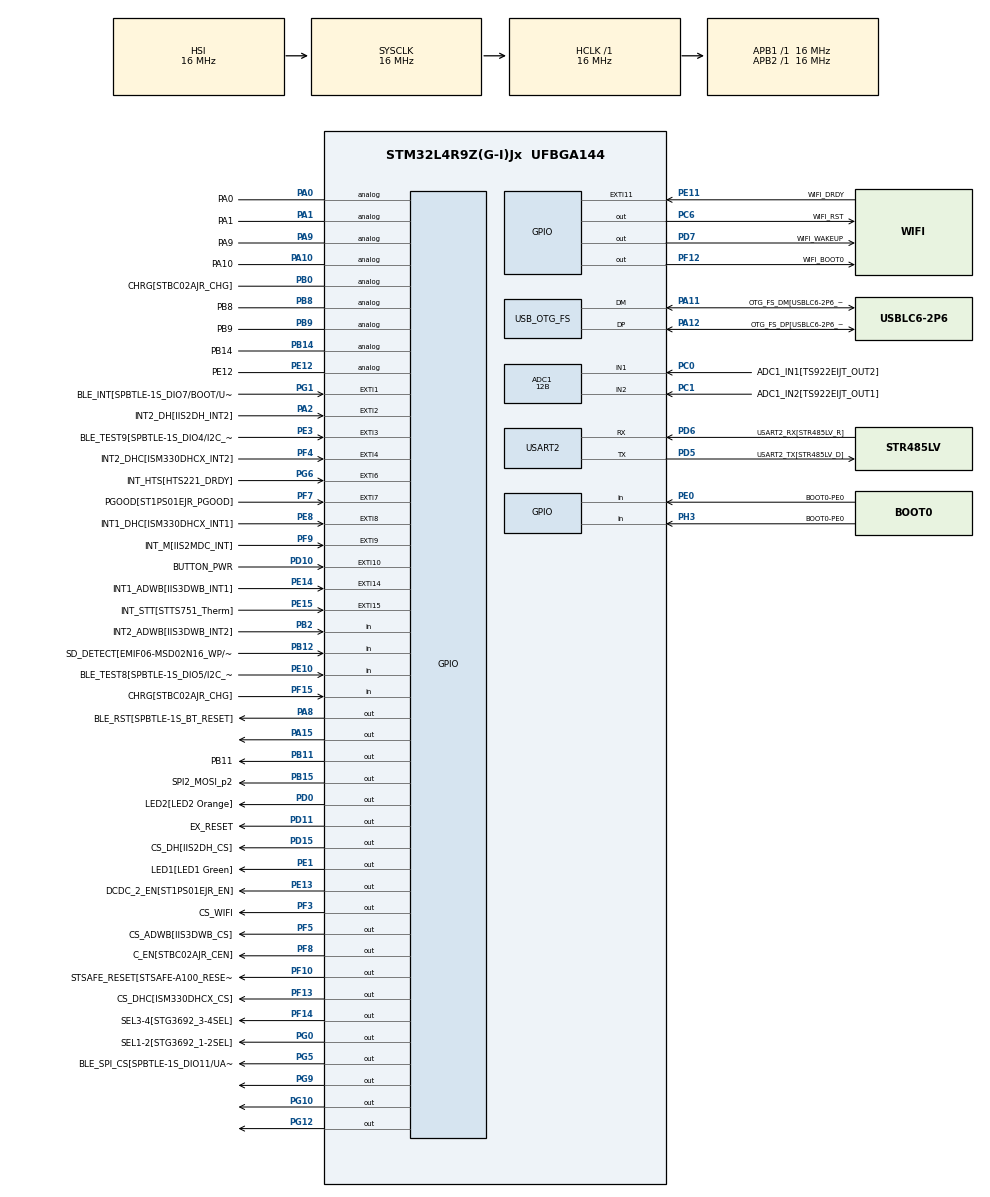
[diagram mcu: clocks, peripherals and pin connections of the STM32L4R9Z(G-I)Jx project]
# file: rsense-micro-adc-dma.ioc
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ADC1.Channel-0\#ChannelRegularConversion=ADC_CHANNEL_1
ADC1.ClockPrescaler=ADC_CLOCK_ASYNC_DIV8
ADC1.ContinuousConvMode=ENABLE
ADC1.DMAContinuousRequests=ENABLE
ADC1.EnableInjectedConversion=DISABLE
ADC1.NbrOfConversion=1
ADC1.NbrOfConversionFlag=1
ADC1.OffsetNumber-0\#ChannelRegularConversion=ADC_OFFSET_NONE
ADC1.Rank-0\#ChannelRegularConversion=1
ADC1.Resolution=ADC_RESOLUTION_12B
ADC1.SamplingTime-0\#ChannelRegularConversion=ADC_SAMPLETIME_2CYCLES_5
ADC1.SingleDiff-0\#ChannelRegularConversion=ADC_DIFFERENTIAL_ENDED
ADC1.master=1
Dma.ADC1.0.Direction=DMA_PERIPH_TO_MEMORY
Dma.ADC1.0.EventEnable=DISABLE
Dma.ADC1.0.Instance=DMA1_Channel1
Dma.ADC1.0.MemDataAlignment=DMA_MDATAALIGN_HALFWORD
Dma.ADC1.0.MemInc=DMA_MINC_ENABLE
Dma.ADC1.0.Mode=DMA_CIRCULAR
Dma.ADC1.0.PeriphDataAlignment=DMA_PDATAALIGN_HALFWORD
Dma.ADC1.0.PeriphInc=DMA_PINC_DISABLE
Dma.ADC1.0.Polarity=HAL_DMAMUX_REQUEST_GEN_RISING
Dma.ADC1.0.Priority=DMA_PRIORITY_LOW
Dma.ADC1.0.RequestNumber=1
Dma.ADC1.0.SignalID=NONE
Dma.ADC1.0.SyncEnable=DISABLE
Dma.ADC1.0.SyncPolarity=HAL_DMAMUX_SYNC_NO_EVENT
Dma.ADC1.0.SyncRequestNumber=1
Dma.ADC1.0.SyncSignalID=NONE
Dma.Request0=ADC1
Dma.Request1=USART2_TX
Dma.USART2_TX.1.Direction=DMA_MEMORY_TO_PERIPH
Dma.USART2_TX.1.EventEnable=DISABLE
Dma.USART2_TX.1.Instance=DMA1_Channel2
Dma.USART2_TX.1.MemDataAlignment=DMA_MDATAALIGN_BYTE
Dma.USART2_TX.1.MemInc=DMA_MINC_ENABLE
Dma.USART2_TX.1.Mode=DMA_NORMAL
Dma.USART2_TX.1.PeriphDataAlignment=DMA_PDATAALIGN_BYTE
Dma.USART2_TX.1.PeriphInc=DMA_PINC_DISABLE
Dma.USART2_TX.1.Polarity=HAL_DMAMUX_REQUEST_GEN_RISING
Dma.USART2_TX.1.Priority=DMA_PRIORITY_LOW
Dma.USART2_TX.1.RequestNumber=1
Dma.USART2_TX.1.SignalID=NONE
Dma.USART2_TX.1.SyncEnable=DISABLE
Dma.USART2_TX.1.SyncPolarity=HAL_DMAMUX_SYNC_NO_EVENT
Dma.USART2_TX.1.SyncRequestNumber=1
Dma.USART2_TX.1.SyncSignalID=NONE
Mcu.Family=STM32L4
Mcu.Name=STM32L4R9Z(G-I)Jx
Mcu.Package=UFBGA144
NVIC.DMA1_Channel1_IRQn=true\:0\:0\:false\:false\:true\:false\:true
NVIC.DMA1_Channel2_IRQn=true\:0\:0\:false\:false\:true\:false\:true
NVIC.OTG_FS_IRQn=true\:0\:0\:false\:false\:true\:false\:true
NVIC.PriorityGroup=NVIC_PRIORITYGROUP_4
PA0.GPIO_Label=PA0
PA0.Signal=GPIO_Analog
PA1.GPIO_Label=PA1
PA1.Signal=GPIO_Analog
PA10.GPIO_Label=PA10
PA10.Signal=GPIO_Analog
PA11.GPIO_Label=OTG_FS_DM[USBLC6-2P6_D2]
PA11.Mode=Device_Only
PA11.Signal=USB_OTG_FS_DM
PA12.GPIO_Label=OTG_FS_DP[USBLC6-2P6_D1]
PA12.Mode=Device_Only
PA12.Signal=USB_OTG_FS_DP
PA13\ (JTMS/SWDIO).GPIO_Label=SWDIO
PA13\ (JTMS/SWDIO).Mode=Serial_Wire
PA13\ (JTMS/SWDIO).Signal=SYS_JTMS-SWDIO
PA14\ (JTCK/SWCLK).GPIO_Label=SWDCLK
PA14\ (JTCK/SWCLK).Mode=Serial_Wire
PA14\ (JTCK/SWCLK).Signal=SYS_JTCK-SWCLK
PA15\ (JTDI).Signal=GPIO_Output
PA2.GPIO_Label=INT2_DH[IIS2DH_INT2]
PA2.Signal=GPXTI2
PA4.GPIO_Label=DAC1_OUT1
PA4.Signal=COMP_DAC11_group
PA8.GPIO_Label=BLE_RST[SPBTLE-1S_BT_RESET]
PA8.Signal=GPIO_Output
PA9.GPIO_Label=PA9
PA9.Signal=GPIO_Analog
PB0.GPIO_Label=CHRG[STBC02AJR_CHG]
PB0.Signal=GPIO_Analog
PB1.GPIO_Label=USART3_RTS[STG3692_3S2]
PB1.Signal=USART3_RTS
PB10.GPIO_Label=DFSDM1_D7
PB10.GPIO_PuPd=GPIO_PULLDOWN
PB10.GPIO_Speed=GPIO_SPEED_FREQ_VERY_HIGH
PB10.Signal=S_DATAIN7DFSDM1
PB11.GPIO_Label=PB11
PB11.Signal=GPIO_Output
PB12.GPIO_Label=SD_DETECT[EMIF06-MSD02N16_WP/CD]
PB12.Signal=GPIO_Input
PB13.GPIO_Label=USART3_CTS
PB13.Signal=USART3_CTS
PB14.GPIO_Label=PB14
PB14.Signal=GPIO_Analog
PB15.GPIO_Label=SPI2_MOSI_p2
PB15.Signal=GPIO_Output
PB2.GPIO_Label=INT2_ADWB[IIS3DWB_INT2]
PB2.Signal=GPIO_Input
PB3\ (JTDO/TRACESWO).GPIO_Label=SPI3_CLK[SENSORS_SCL]
PB3\ (JTDO/TRACESWO).Signal=SPI3_SCK
PB4\ (NJTRST).GPIO_Label=SPI3_MISO[SENSORS_SDO]
PB4\ (NJTRST).Signal=SPI3_MISO
PB5.GPIO_Label=SPI3_MOSI[SENSORS_SDA]
PB5.Signal=SPI3_MOSI
PB6.GPIO_Label=DFSDM1_DATIN5[IMP34DT05_DOUT]
PB6.GPIO_PuPd=GPIO_PULLDOWN
PB6.GPIO_Speed=GPIO_SPEED_FREQ_VERY_HIGH
PB6.Signal=S_DATAIN5DFSDM1
PB8.GPIO_Label=PB8
PB8.Signal=GPIO_Analog
PB9.GPIO_Label=PB9
PB9.Signal=GPIO_Analog
PC0.GPIO_Label=ADC1_IN1[TS922EIJT_OUT2]
PC0.Signal=ADCx_IN1
PC1.GPIO_Label=ADC1_IN2[TS922EIJT_OUT1]
PC1.Signal=ADCx_IN2
PC10.GPIO_Label=SDMMC_D2[EMIF06-MSD02N16_DAT2_In]
PC10.Signal=SDMMC1_D2
PC11.GPIO_Label=SDMMC_D3[EMIF06-MSD02N16_DAT3_In]
PC11.Signal=SDMMC1_D3
PC12.GPIO_Label=SDMMC_CK[EMIF06-MSD02N16_CLK_In]
PC12.Signal=SDMMC1_CK
PC13.GPIO_Label=RTC_TAMP1
PC13.Signal=RTC_TAMP1
PC14-OSC32_IN\ (PC14).GPIO_Label=OSC32_IN
PC14-OSC32_IN\ (PC14).Signal=RCC_OSC32_IN
PC15-OSC32_OUT\ (PC15).GPIO_Label=OSC32_OUT
PC15-OSC32_OUT\ (PC15).Signal=RCC_OSC32_OUT
PC2.GPIO_Label=SPI2_MISO[SPBTLE-1S_DIO2/SPI_MISO]
PC2.Signal=SPI2_MISO
PC3.GPIO_Label=SPI2_MOSI[SPBTLE-1S_DIO3/SPI_MOSI]
PC3.Signal=SPI2_MOSI
PC5.GPIO_Label=PC5/WKUP5
PC5.Signal=SYS_WKUP5
PC6.GPIO_Label=WIFI_RST
PC6.Signal=GPIO_Output
PC8.GPIO_Label=SDMMC_D0[EMIF06-MSD02N16_DAT0_In]
PC8.Signal=SDMMC1_D0
PC9.GPIO_Label=SDMMC_D1[EMIF06-MSD02N16_DAT1_In]
PC9.Signal=SDMMC1_D1
PD0.GPIO_Label=LED2[LED2 Orange]
PD0.Signal=GPIO_Output
PD1.GPIO_Label=SPI2_CLK[SPBTLE-1S_DIO0/SPI_CLK]
PD1.Signal=SPI2_SCK
PD10.GPIO_Label=BUTTON_PWR
PD10.Signal=GPXTI10
PD11.GPIO_Label=EX_RESET 
PD11.Signal=GPIO_Output
PD12.GPIO_Label=I2C4_SCL
PD12.Signal=I2C4_SCL
PD13.GPIO_Label=I2C4_SDA
PD13.Signal=I2C4_SDA
PD15.GPIO_Label=CS_DH[IIS2DH_CS]
PD15.Signal=GPIO_Output
PD2.GPIO_Label=SDMMC_CMD[EMIF06-MSD02N16_CMD_In]
PD2.Signal=SDMMC1_CMD
PD4.GPIO_Label=USART2_RTS[STR485LV_DE]
PD4.Signal=USART2_RTS
PD5.GPIO_Label=USART2_TX[STR485LV_D]
PD5.Mode=Asynchronous
PD5.Signal=USART2_TX
PD6.GPIO_Label=USART2_RX[STR485LV_R]
PD6.Mode=Asynchronous
PD6.Signal=USART2_RX
PD7.GPIO_Label=WIFI_WAKEUP
PD7.Signal=GPIO_Output
PD8.GPIO_Label=USART3_TX[STG3692_1S1]
PD8.Signal=USART3_TX
PD9.GPIO_Label=USART3_RX[STG3692_2S1]
PD9.Signal=USART3_RX
PE0.GPIO_Label=BOOT0-PE0
PE0.Signal=GPIO_Input
PE1.GPIO_Label=LED1[LED1 Green]
PE1.Signal=GPIO_Output
PE10.GPIO_Label=BLE_TEST8[SPBTLE-1S_DIO5/I2C_SDA]
PE10.Signal=GPIO_Input
PE11.GPIO_Label=WIFI_DRDY
PE11.Signal=GPXTI11
PE12.GPIO_Label=PE12
PE12.Signal=GPIO_Analog
PE13.GPIO_Label=DCDC_2_EN[ST1PS01EJR_EN]
PE13.Signal=GPIO_Output
PE14.GPIO_Label=INT1_ADWB[IIS3DWB_INT1]
PE14.Signal=GPXTI14
PE15.GPIO_Label=INT_STT[STTS751_Therm]
PE15.Signal=GPXTI15
PE2.GPIO_Label=SAI1_MCLK_A
PE2.Signal=SAI1_MCLK_A
PE3.GPIO_Label=BLE_TEST9[SPBTLE-1S_DIO4/I2C_CLK]
PE3.Signal=GPXTI3
PE4.GPIO_Label=SAI1_FS_A/DFSDM_D3
PE4.Signal=SAI1_FS_A
PE5.GPIO_Label=SAI1_SCK_A
PE5.Signal=SAI1_SCK_A
PE6.GPIO_Label=SAI1_SD_A
PE6.Signal=SAI1_SD_A
PE7.GPIO_Label=SAI1_SD_B
PE7.Signal=SAI1_SD_B
PE8.GPIO_Label=INT1_DHC[ISM330DHCX_INT1]
PE8.Signal=GPXTI8
PE9.GPIO_Label=DFSDM1_CKOUT[IMP34DT05_CLK]
PE9.GPIO_PuPd=GPIO_PULLDOWN
PE9.GPIO_Speed=GPIO_SPEED_FREQ_VERY_HIGH
PE9.Signal=S_CKOUTDFSDM1
PF0.GPIO_Label=I2C2_SDA[SENSORS_SDA]
PF0.Signal=I2C2_SDA
PF1.GPIO_Label=I2C2_SDA[SENSORS_SCL]
PF1.Signal=I2C2_SCL
PF10.GPIO_Label=STSAFE_RESET[STSAFE-A100_RESET]
PF10.Signal=GPIO_Output
PF12.GPIO_Label=WIFI_BOOT0
PF12.Signal=GPIO_Output
PF13.GPIO_Label=CS_DHC[ISM330DHCX_CS]
PF13.Signal=GPIO_Output
PF14.GPIO_Label=SEL3-4[STG3692_3-4SEL]
PF14.Signal=GPIO_Output
PF15.GPIO_Label=CHRG[STBC02AJR_CHG]
PF15.Signal=GPIO_Input
PF2.GPIO_Label=I2C2_SMBA[STTS751_EV]
PF2.Signal=I2C2_SMBA
PF3.GPIO_Label=CS_WIFI
PF3.Signal=GPIO_Output
PF4.GPIO_Label=INT2_DHC[ISM330DHCX_INT2]
PF4.Signal=GPXTI4
PF5.GPIO_Label=CS_ADWB[IIS3DWB_CS]
PF5.Signal=GPIO_Output
PF6.GPIO_Label=SW_SEL[STBC02AJR_SW_SEL]
PF6.GPIO_Speed=GPIO_SPEED_FREQ_HIGH
PF6.Signal=S_TIM5_CH1
PF7.GPIO_Label=PGOOD[ST1PS01EJR_PGOOD]
PF7.Signal=GPXTI7
PF8.GPIO_Label=C_EN[STBC02AJR_CEN]
PF8.Signal=GPIO_Output
PF9.GPIO_Label=INT_M[IIS2MDC_INT]
PF9.Signal=GPXTI9
PG0.GPIO_Label=SEL1-2[STG3692_1-2SEL]
PG0.Signal=GPIO_Output
PG1.GPIO_Label=BLE_INT[SPBTLE-1S_DIO7/BOOT/UART_CTS]
PG1.Signal=GPXTI1
PG10.Signal=GPIO_Output
PG12.Signal=GPIO_Output
PG2.GPIO_Label=SPI1_CLK
PG2.Signal=SPI1_SCK
PG3.GPIO_Label=SPI1_MISO
PG3.Signal=SPI1_MISO
PG4.GPIO_Label=SPI1_MOSI
PG4.Signal=SPI1_MOSI
PG5.GPIO_Label=BLE_SPI_CS[SPBTLE-1S_DIO11/UART_RXD]
PG5.Signal=GPIO_Output
PG6.GPIO_Label=INT_HTS[HTS221_DRDY]
PG6.Signal=GPXTI6
PG7.GPIO_Label=I2C3_SCL
PG7.Signal=I2C3_SCL
PG8.GPIO_Label=I2C3_SDA
PG8.Signal=I2C3_SDA
PG9.Signal=GPIO_Output
PH0-OSC_IN\ (PH0).GPIO_Label=OSC_IN
PH0-OSC_IN\ (PH0).Signal=RCC_OSC_IN
PH1-OSC_OUT\ (PH1).GPIO_Label=OSC_OUT
PH1-OSC_OUT\ (PH1).Signal=RCC_OSC_OUT
PH3-BOOT0.GPIO_Label=BOOT0-PE0
PH3-BOOT0.Signal=GPIO_Input
ProjectManager.HeapSize=0x200
ProjectManager.StackSize=0x400
ProjectManager.TargetToolchain=STM32CubeIDE
RCC.ADCCLockSelection=RCC_ADCCLKSOURCE_SYSCLK
RCC.ADCFreq_Value=16000000
RCC.AHBFreq_Value=16000000
RCC.APB1Freq_Value=16000000
RCC.APB1TimFreq_Value=16000000
RCC.APB2Freq_Value=16000000
RCC.APB2TimFreq_Value=16000000
RCC.CK48CLockSelection=RCC_USBCLKSOURCE_HSI48
RCC.CortexFreq_Value=16000000
RCC.DSITX_Div=1
RCC.HCLKFreq_Value=16000000
RCC.HSE_VALUE=16000000
RCC.HSI48_VALUE=48000000
RCC.HSI_VALUE=16000000
RCC.LSE_VALUE=32768
RCC.MSI_VALUE=4000000
RCC.PLLDSIODF=DSI_PLL_OUT_DIV2
RCC.PLLM1=2
RCC.PLLM2=5
RCC.PLLM3=2
RCC.PLLN=30
RCC.PLLSAI1N=96
RCC.PLLSAI1P=RCC_PLLP_DIV25
RCC.PLLSAI1Q=RCC_PLLQ_DIV4
RCC.PLLSAI1R=RCC_PLLR_DIV4
RCC.PLLSourceVirtual=RCC_PLLSOURCE_HSI
RCC.RTCClockSelection=RCC_RTCCLKSOURCE_LSE
RCC.SDMMCClockSelection=RCC_SDIOCLKSOURCE_CLK48
RCC.SYSCLKFreq_VALUE=16000000
RCC.SYSCLKSource=RCC_SYSCLKSOURCE_HSI
RCC.USBFreq_Value=48000000
RCC.VCOOutputFreq_Value=240000000
SH.ADCx_IN1.0=ADC1_IN1,IN1-Differential
SH.ADCx_IN2.0=ADC1_IN2,IN1-Differential
SH.COMP_DAC11_group.0=DAC1_OUT1
SH.S_CKOUTDFSDM1.0=DFSDM1_CKOUT
SH.S_DATAIN5DFSDM1.0=DFSDM1_DATIN5
SH.S_DATAIN7DFSDM1.0=DFSDM1_DATIN7
SH.S_TIM5_CH1.0=TIM5_CH1
USART2.VirtualMode-Asynchronous=VM_ASYNC
USB_DEVICE.CLASS_NAME_FS=CDC
USB_DEVICE.VirtualMode=Cdc
USB_DEVICE.VirtualModeFS=Cdc_FS
USB_OTG_FS.VirtualMode=Device_Only
VP_USB_DEVICE_VS_USB_DEVICE_CDC_FS.Mode=CDC_FS
board=STEVAL-STWINKT1

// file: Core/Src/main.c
/* USER CODE BEGIN Header */
/**
 ******************************************************************************
 * @file           : main.c
 * @brief          : Main program body
 ******************************************************************************
 * @attention
 *
 * <h2><center>&copy; Copyright (c) 2021 STMicroelectronics.
 * All rights reserved.</center></h2>
 *
 * This software component is licensed by ST under BSD 3-Clause license,
 * the "License"; You may not use this file except in compliance with the
 * License. You may obtain a copy of the License at:
 *                        opensource.org/licenses/BSD-3-Clause
 *
 ******************************************************************************
 */
/* USER CODE END Header */
#include "main.h"
#include "usb_device.h"

/* USER CODE BEGIN Includes */
#define ARM_MATH_CM4
#include "arm_math.h"
#include <stdio.h>
#include <stdlib.h>
#include <audio_fft.h>
#include <math.h>
//#include "usbd_cdc_if.h"

/* USER CODE END Includes */

ADC_HandleTypeDef hadc1;
DMA_HandleTypeDef hdma_adc1;

UART_HandleTypeDef huart2;
DMA_HandleTypeDef hdma_usart2_tx;

/* USER CODE BEGIN PV */
#define ADC_BUF_LEN 512//4096
int16_t adc_buf[ADC_BUF_LEN];

/* USER CODE END PV */

void SystemClock_Config(void);
static void MX_GPIO_Init(void);
static void MX_DMA_Init(void);
static void MX_ADC1_Init(void);
static void MX_USART2_UART_Init(void);
/* USER CODE BEGIN PFP */
void DMATransferComplete(DMA_HandleTypeDef *hdma);
AUDIO_FFT_instance_t audio_fft_M1;
/* USER CODE END PFP */

/* USER CODE BEGIN 0 */
uint8_t completo = 0;
float * FFT_Out;
/* USER CODE END 0 */

int main(void)
{

  /* MCU Configuration--------------------------------------------------------*/

  /* Reset of all peripherals, Initializes the Flash interface and the Systick. */
  HAL_Init();

  /* Configure the system clock */
  SystemClock_Config();

  /* Initialize all configured peripherals */
  MX_GPIO_Init();
  MX_DMA_Init();
  MX_ADC1_Init();
  MX_USART2_UART_Init();
  MX_USB_DEVICE_Init();
  /* USER CODE BEGIN 2 */
	//	HAL_DMA_RegisterCallback(&hdma_usart2_tx, HAL_DMA_XFER_CPLT_CB_ID, &DMATransferComplete);
	HAL_ADC_Start_DMA(&hadc1, (int32_t*)adc_buf, ADC_BUF_LEN);

	audio_fft_M1.sampling_frequency = 133333; 			//66667; //
	audio_fft_M1.FFT_len = 1024;
	audio_fft_M1.overlap = 0.5f;
	audio_fft_M1.win_type = AUDIO_FTT_HANNING_WIN;
	audio_fft_M1.output = MAGNITUDE;
	AUDIO_FFT_Init(&audio_fft_M1);

	/* Allocate output buffer */
	FFT_Out = calloc(audio_fft_M1.FFT_len / 2, sizeof(float));

  /* USER CODE END 2 */

  /* Infinite loop */
  /* USER CODE BEGIN WHILE */
	int16_t FFT_filtrada[ADC_BUF_LEN];
	float alpha = 0.05;
//	int16_t FFT_now[ADC_BUF_LEN];
	int16_t toSend[ADC_BUF_LEN+1+1];		//PAYLOAD + CABECERA + CRC

	while (1)
	{
    /* USER CODE END WHILE */

    /* USER CODE BEGIN 3 */
		if (completo==1)
		{

//			HAL_GPIO_WritePin(GPIOA, GPIO_PIN_15, GPIO_PIN_SET);

			HAL_ADC_Stop_DMA(&hadc1);
			AUDIO_FFT_Data_Input(adc_buf, ADC_BUF_LEN, &audio_fft_M1);
			AUDIO_FFT_Process(&audio_fft_M1, FFT_Out);

			int j=0;
			for (int i = 0; i<(ADC_BUF_LEN); i++){
//				FFT_now[i] = 20 * log(FFT_Out[i]/256);
				FFT_filtrada[i] = (alpha *(20 * log(FFT_Out[i]/256))) + ((1 - alpha) * FFT_filtrada[i]);

			}
//			HAL_GPIO_WritePin(GPIOA, GPIO_PIN_15, GPIO_PIN_RESET);

			//Genera el mensaje a enviar
			toSend[0] = 0x3e3e;											//CABECERA
			memcpy(&toSend[1], &FFT_filtrada, sizeof(FFT_filtrada));	//PAYLOAD
			int16_t BCC_CRC = 0;
			for (int i = 1; i <= (ADC_BUF_LEN); i++)
				BCC_CRC ^= toSend[i];									//CRC
			toSend[ADC_BUF_LEN+1]=BCC_CRC;
			HAL_UART_Transmit(&huart2, &toSend, sizeof(toSend), 100000000);
			HAL_Delay(1);

			HAL_ADC_Start_DMA(&hadc1, (int32_t*)adc_buf, ADC_BUF_LEN);
			completo = 0;

		}
	}
  /* USER CODE END 3 */
}

void SystemClock_Config(void)
{
  RCC_OscInitTypeDef RCC_OscInitStruct = {0};
  RCC_ClkInitTypeDef RCC_ClkInitStruct = {0};
  RCC_PeriphCLKInitTypeDef PeriphClkInit = {0};

  /** Configure the main internal regulator output voltage
  */
  if (HAL_PWREx_ControlVoltageScaling(PWR_REGULATOR_VOLTAGE_SCALE1) != HAL_OK)
  {
    Error_Handler();
  }
  /** Initializes the RCC Oscillators according to the specified parameters
  * in the RCC_OscInitTypeDef structure.
  */
  RCC_OscInitStruct.OscillatorType = RCC_OSCILLATORTYPE_HSI48|RCC_OSCILLATORTYPE_HSI;
  RCC_OscInitStruct.HSIState = RCC_HSI_ON;
  RCC_OscInitStruct.HSI48State = RCC_HSI48_ON;
  RCC_OscInitStruct.HSICalibrationValue = RCC_HSICALIBRATION_DEFAULT;
  RCC_OscInitStruct.PLL.PLLState = RCC_PLL_NONE;
  if (HAL_RCC_OscConfig(&RCC_OscInitStruct) != HAL_OK)
  {
    Error_Handler();
  }
  /** Initializes the CPU, AHB and APB buses clocks
  */
  RCC_ClkInitStruct.ClockType = RCC_CLOCKTYPE_HCLK|RCC_CLOCKTYPE_SYSCLK
                              |RCC_CLOCKTYPE_PCLK1|RCC_CLOCKTYPE_PCLK2;
  RCC_ClkInitStruct.SYSCLKSource = RCC_SYSCLKSOURCE_HSI;
  RCC_ClkInitStruct.AHBCLKDivider = RCC_SYSCLK_DIV1;
  RCC_ClkInitStruct.APB1CLKDivider = RCC_HCLK_DIV1;
  RCC_ClkInitStruct.APB2CLKDivider = RCC_HCLK_DIV1;

  if (HAL_RCC_ClockConfig(&RCC_ClkInitStruct, FLASH_LATENCY_0) != HAL_OK)
  {
    Error_Handler();
  }
  PeriphClkInit.PeriphClockSelection = RCC_PERIPHCLK_USART2|RCC_PERIPHCLK_USB
                              |RCC_PERIPHCLK_ADC;
  PeriphClkInit.Usart2ClockSelection = RCC_USART2CLKSOURCE_PCLK1;
  PeriphClkInit.AdcClockSelection = RCC_ADCCLKSOURCE_SYSCLK;
  PeriphClkInit.UsbClockSelection = RCC_USBCLKSOURCE_HSI48;
  if (HAL_RCCEx_PeriphCLKConfig(&PeriphClkInit) != HAL_OK)
  {
    Error_Handler();
  }
}

static void MX_ADC1_Init(void)
{

  ADC_ChannelConfTypeDef sConfig = {0};

  /** Common config
  */
  hadc1.Instance = ADC1;
  hadc1.Init.ClockPrescaler = ADC_CLOCK_ASYNC_DIV8;
  hadc1.Init.Resolution = ADC_RESOLUTION_12B;
  hadc1.Init.DataAlign = ADC_DATAALIGN_RIGHT;
  hadc1.Init.ScanConvMode = ADC_SCAN_DISABLE;
  hadc1.Init.EOCSelection = ADC_EOC_SINGLE_CONV;
  hadc1.Init.LowPowerAutoWait = DISABLE;
  hadc1.Init.ContinuousConvMode = ENABLE;
  hadc1.Init.NbrOfConversion = 1;
  hadc1.Init.DiscontinuousConvMode = DISABLE;
  hadc1.Init.ExternalTrigConv = ADC_SOFTWARE_START;
  hadc1.Init.ExternalTrigConvEdge = ADC_EXTERNALTRIGCONVEDGE_NONE;
  hadc1.Init.DMAContinuousRequests = ENABLE;
  hadc1.Init.Overrun = ADC_OVR_DATA_PRESERVED;
  hadc1.Init.OversamplingMode = DISABLE;
  if (HAL_ADC_Init(&hadc1) != HAL_OK)
  {
    Error_Handler();
  }
  /** Configure Regular Channel
  */
  sConfig.Channel = ADC_CHANNEL_1;
  sConfig.Rank = ADC_REGULAR_RANK_1;
  sConfig.SamplingTime = ADC_SAMPLETIME_2CYCLES_5;
  sConfig.SingleDiff = ADC_DIFFERENTIAL_ENDED;
  sConfig.OffsetNumber = ADC_OFFSET_NONE;
  sConfig.Offset = 0;
  if (HAL_ADC_ConfigChannel(&hadc1, &sConfig) != HAL_OK)
  {
    Error_Handler();
  }

}

static void MX_USART2_UART_Init(void)
{

  huart2.Instance = USART2;
  huart2.Init.BaudRate = 115200;
  huart2.Init.WordLength = UART_WORDLENGTH_8B;
  huart2.Init.StopBits = UART_STOPBITS_1;
  huart2.Init.Parity = UART_PARITY_NONE;
  huart2.Init.Mode = UART_MODE_TX_RX;
  huart2.Init.HwFlowCtl = UART_HWCONTROL_NONE;
  huart2.Init.OverSampling = UART_OVERSAMPLING_16;
  huart2.Init.OneBitSampling = UART_ONE_BIT_SAMPLE_DISABLE;
  huart2.Init.ClockPrescaler = UART_PRESCALER_DIV1;
  huart2.AdvancedInit.AdvFeatureInit = UART_ADVFEATURE_NO_INIT;
  if (HAL_UART_Init(&huart2) != HAL_OK)
  {
    Error_Handler();
  }
  if (HAL_UARTEx_SetTxFifoThreshold(&huart2, UART_TXFIFO_THRESHOLD_1_8) != HAL_OK)
  {
    Error_Handler();
  }
  if (HAL_UARTEx_SetRxFifoThreshold(&huart2, UART_RXFIFO_THRESHOLD_1_8) != HAL_OK)
  {
    Error_Handler();
  }
  if (HAL_UARTEx_DisableFifoMode(&huart2) != HAL_OK)
  {
    Error_Handler();
  }

}

static void MX_DMA_Init(void)
{

  /* DMA controller clock enable */
  __HAL_RCC_DMAMUX1_CLK_ENABLE();
  __HAL_RCC_DMA1_CLK_ENABLE();

  /* DMA interrupt init */
  /* DMA1_Channel1_IRQn interrupt configuration */
  HAL_NVIC_SetPriority(DMA1_Channel1_IRQn, 0, 0);
  HAL_NVIC_EnableIRQ(DMA1_Channel1_IRQn);
  /* DMA1_Channel2_IRQn interrupt configuration */
  HAL_NVIC_SetPriority(DMA1_Channel2_IRQn, 0, 0);
  HAL_NVIC_EnableIRQ(DMA1_Channel2_IRQn);

}

static void MX_GPIO_Init(void)
{
  GPIO_InitTypeDef GPIO_InitStruct = {0};

  /* GPIO Ports Clock Enable */
  __HAL_RCC_GPIOE_CLK_ENABLE();
  __HAL_RCC_GPIOB_CLK_ENABLE();
  __HAL_RCC_GPIOH_CLK_ENABLE();
  __HAL_RCC_GPIOC_CLK_ENABLE();
  __HAL_RCC_GPIOA_CLK_ENABLE();
  __HAL_RCC_GPIOD_CLK_ENABLE();
  __HAL_RCC_GPIOG_CLK_ENABLE();
  HAL_PWREx_EnableVddIO2();
  __HAL_RCC_GPIOF_CLK_ENABLE();

  /*Configure GPIO pin Output Level */
  HAL_GPIO_WritePin(GPIOA, GPIO_PIN_15|BLE_RST_Pin, GPIO_PIN_RESET);

  /*Configure GPIO pin Output Level */
  HAL_GPIO_WritePin(GPIOE, LED1_Pin|DCDC_2_EN_Pin, GPIO_PIN_RESET);

  /*Configure GPIO pin Output Level */
  HAL_GPIO_WritePin(GPIOD, LED2_Pin|WIFI_WAKEUP_Pin|CS_DH_Pin|EX_RESET_Pin, GPIO_PIN_RESET);

  /*Configure GPIO pin Output Level */
  HAL_GPIO_WritePin(GPIOG, GPIO_PIN_12|GPIO_PIN_10|GPIO_PIN_9|BLE_SPI_CS_Pin
                          |SEL1_2_Pin, GPIO_PIN_RESET);

  /*Configure GPIO pin Output Level */
  HAL_GPIO_WritePin(WIFI_RST_GPIO_Port, WIFI_RST_Pin, GPIO_PIN_RESET);

  /*Configure GPIO pin Output Level */
  HAL_GPIO_WritePin(GPIOF, CS_WIFI_Pin|C_EN_Pin|CS_ADWB_Pin|STSAFE_RESET_Pin
                          |WIFI_BOOT0_Pin|CS_DHC_Pin|SEL3_4_Pin, GPIO_PIN_RESET);

  /*Configure GPIO pin Output Level */
  HAL_GPIO_WritePin(GPIOB, SPI2_MOSI_p2_Pin|PB11_Pin, GPIO_PIN_RESET);

  /*Configure GPIO pins : BOOT0_PE0_Pin BLE_TEST8_Pin */
  GPIO_InitStruct.Pin = BOOT0_PE0_Pin|BLE_TEST8_Pin;
  GPIO_InitStruct.Mode = GPIO_MODE_INPUT;
  GPIO_InitStruct.Pull = GPIO_NOPULL;
  HAL_GPIO_Init(GPIOE, &GPIO_InitStruct);

  /*Configure GPIO pins : PB9_Pin PB8_Pin PB14_Pin CHRGB0_Pin */
  GPIO_InitStruct.Pin = PB9_Pin|PB8_Pin|PB14_Pin|CHRGB0_Pin;
  GPIO_InitStruct.Mode = GPIO_MODE_ANALOG;
  GPIO_InitStruct.Pull = GPIO_NOPULL;
  HAL_GPIO_Init(GPIOB, &GPIO_InitStruct);

  /*Configure GPIO pin : BOOT0_PE0H3_Pin */
  GPIO_InitStruct.Pin = BOOT0_PE0H3_Pin;
  GPIO_InitStruct.Mode = GPIO_MODE_INPUT;
  GPIO_InitStruct.Pull = GPIO_NOPULL;
  HAL_GPIO_Init(BOOT0_PE0H3_GPIO_Port, &GPIO_InitStruct);

  /*Configure GPIO pins : SPI3_MISO_Pin SPI3_MOSI_Pin SPI3_CLK_Pin */
  GPIO_InitStruct.Pin = SPI3_MISO_Pin|SPI3_MOSI_Pin|SPI3_CLK_Pin;
  GPIO_InitStruct.Mode = GPIO_MODE_AF_PP;
  GPIO_InitStruct.Pull = GPIO_NOPULL;
  GPIO_InitStruct.Speed = GPIO_SPEED_FREQ_VERY_HIGH;
  GPIO_InitStruct.Alternate = GPIO_AF6_SPI3;
  HAL_GPIO_Init(GPIOB, &GPIO_InitStruct);

  /*Configure GPIO pins : SDMMC_D3_Pin SDMMC_D2_Pin SDMMC_D1_Pin SDMMC_CK_Pin
                           SDMMC_D0_Pin */
  GPIO_InitStruct.Pin = SDMMC_D3_Pin|SDMMC_D2_Pin|SDMMC_D1_Pin|SDMMC_CK_Pin
                          |SDMMC_D0_Pin;
  GPIO_InitStruct.Mode = GPIO_MODE_AF_PP;
  GPIO_InitStruct.Pull = GPIO_NOPULL;
  GPIO_InitStruct.Speed = GPIO_SPEED_FREQ_VERY_HIGH;
  GPIO_InitStruct.Alternate = GPIO_AF12_SDMMC1;
  HAL_GPIO_Init(GPIOC, &GPIO_InitStruct);

  /*Configure GPIO pins : BLE_TEST9_Pin WIFI_DRDY_Pin INT1_DHC_Pin INT_STT_Pin
                           INT1_ADWB_Pin */
  GPIO_InitStruct.Pin = BLE_TEST9_Pin|WIFI_DRDY_Pin|INT1_DHC_Pin|INT_STT_Pin
                          |INT1_ADWB_Pin;
  GPIO_InitStruct.Mode = GPIO_MODE_IT_RISING;
  GPIO_InitStruct.Pull = GPIO_NOPULL;
  HAL_GPIO_Init(GPIOE, &GPIO_InitStruct);

  /*Configure GPIO pin : SPI2_CLK_Pin */
  GPIO_InitStruct.Pin = SPI2_CLK_Pin;
  GPIO_InitStruct.Mode = GPIO_MODE_AF_PP;
  GPIO_InitStruct.Pull = GPIO_NOPULL;
  GPIO_InitStruct.Speed = GPIO_SPEED_FREQ_VERY_HIGH;
  GPIO_InitStruct.Alternate = GPIO_AF5_SPI2;
  HAL_GPIO_Init(SPI2_CLK_GPIO_Port, &GPIO_InitStruct);

  /*Configure GPIO pins : PA15 BLE_RST_Pin */
  GPIO_InitStruct.Pin = GPIO_PIN_15|BLE_RST_Pin;
  GPIO_InitStruct.Mode = GPIO_MODE_OUTPUT_PP;
  GPIO_InitStruct.Pull = GPIO_NOPULL;
  GPIO_InitStruct.Speed = GPIO_SPEED_FREQ_LOW;
  HAL_GPIO_Init(GPIOA, &GPIO_InitStruct);

  /*Configure GPIO pins : SAI1_SCK_A_Pin SAI1_MCLK_A_Pin SAI1_FS_A_DFSDM_D3_Pin SAI1_SD_A_Pin
                           SAI1_SD_B_Pin */
  GPIO_InitStruct.Pin = SAI1_SCK_A_Pin|SAI1_MCLK_A_Pin|SAI1_FS_A_DFSDM_D3_Pin|SAI1_SD_A_Pin
                          |SAI1_SD_B_Pin;
  GPIO_InitStruct.Mode = GPIO_MODE_AF_PP;
  GPIO_InitStruct.Pull = GPIO_NOPULL;
  GPIO_InitStruct.Speed = GPIO_SPEED_FREQ_LOW;
  GPIO_InitStruct.Alternate = GPIO_AF13_SAI1;
  HAL_GPIO_Init(GPIOE, &GPIO_InitStruct);

  /*Configure GPIO pins : LED1_Pin DCDC_2_EN_Pin */
  GPIO_InitStruct.Pin = LED1_Pin|DCDC_2_EN_Pin;
  GPIO_InitStruct.Mode = GPIO_MODE_OUTPUT_PP;
  GPIO_InitStruct.Pull = GPIO_NOPULL;
  GPIO_InitStruct.Speed = GPIO_SPEED_FREQ_LOW;
  HAL_GPIO_Init(GPIOE, &GPIO_InitStruct);

  /*Configure GPIO pins : LED2_Pin WIFI_WAKEUP_Pin CS_DH_Pin EX_RESET_Pin */
  GPIO_InitStruct.Pin = LED2_Pin|WIFI_WAKEUP_Pin|CS_DH_Pin|EX_RESET_Pin;
  GPIO_InitStruct.Mode = GPIO_MODE_OUTPUT_PP;
  GPIO_InitStruct.Pull = GPIO_NOPULL;
  GPIO_InitStruct.Speed = GPIO_SPEED_FREQ_LOW;
  HAL_GPIO_Init(GPIOD, &GPIO_InitStruct);

  /*Configure GPIO pins : PA10_Pin PA9_Pin PA0_Pin DAC1_OUT1_Pin
                           PA1_Pin */
  GPIO_InitStruct.Pin = PA10_Pin|PA9_Pin|PA0_Pin|DAC1_OUT1_Pin
                          |PA1_Pin;
  GPIO_InitStruct.Mode = GPIO_MODE_ANALOG;
  GPIO_InitStruct.Pull = GPIO_NOPULL;
  HAL_GPIO_Init(GPIOA, &GPIO_InitStruct);

  /*Configure GPIO pins : DFSDM1_DATIN5_Pin DFSDM1_D7_Pin */
  GPIO_InitStruct.Pin = DFSDM1_DATIN5_Pin|DFSDM1_D7_Pin;
  GPIO_InitStruct.Mode = GPIO_MODE_AF_PP;
  GPIO_InitStruct.Pull = GPIO_PULLDOWN;
  GPIO_InitStruct.Speed = GPIO_SPEED_FREQ_VERY_HIGH;
  GPIO_InitStruct.Alternate = GPIO_AF6_DFSDM1;
  HAL_GPIO_Init(GPIOB, &GPIO_InitStruct);

  /*Configure GPIO pins : PG12 PG10 PG9 BLE_SPI_CS_Pin
                           SEL1_2_Pin */
  GPIO_InitStruct.Pin = GPIO_PIN_12|GPIO_PIN_10|GPIO_PIN_9|BLE_SPI_CS_Pin
                          |SEL1_2_Pin;
  GPIO_InitStruct.Mode = GPIO_MODE_OUTPUT_PP;
  GPIO_InitStruct.Pull = GPIO_NOPULL;
  GPIO_InitStruct.Speed = GPIO_SPEED_FREQ_LOW;
  HAL_GPIO_Init(GPIOG, &GPIO_InitStruct);

  /*Configure GPIO pin : SDMMC_CMD_Pin */
  GPIO_InitStruct.Pin = SDMMC_CMD_Pin;
  GPIO_InitStruct.Mode = GPIO_MODE_AF_PP;
  GPIO_InitStruct.Pull = GPIO_NOPULL;
  GPIO_InitStruct.Speed = GPIO_SPEED_FREQ_VERY_HIGH;
  GPIO_InitStruct.Alternate = GPIO_AF12_SDMMC1;
  HAL_GPIO_Init(SDMMC_CMD_GPIO_Port, &GPIO_InitStruct);

  /*Configure GPIO pin : WIFI_RST_Pin */
  GPIO_InitStruct.Pin = WIFI_RST_Pin;
  GPIO_InitStruct.Mode = GPIO_MODE_OUTPUT_PP;
  GPIO_InitStruct.Pull = GPIO_NOPULL;
  GPIO_InitStruct.Speed = GPIO_SPEED_FREQ_LOW;
  HAL_GPIO_Init(WIFI_RST_GPIO_Port, &GPIO_InitStruct);

  /*Configure GPIO pins : I2C2_SMBA_Pin I2C2_SDA_Pin I2C2_SDAF0_Pin */
  GPIO_InitStruct.Pin = I2C2_SMBA_Pin|I2C2_SDA_Pin|I2C2_SDAF0_Pin;
  GPIO_InitStruct.Mode = GPIO_MODE_AF_OD;
  GPIO_InitStruct.Pull = GPIO_PULLUP;
  GPIO_InitStruct.Speed = GPIO_SPEED_FREQ_VERY_HIGH;
  GPIO_InitStruct.Alternate = GPIO_AF4_I2C2;
  HAL_GPIO_Init(GPIOF, &GPIO_InitStruct);

  /*Configure GPIO pins : CS_WIFI_Pin C_EN_Pin CS_ADWB_Pin STSAFE_RESET_Pin
                           WIFI_BOOT0_Pin CS_DHC_Pin SEL3_4_Pin */
  GPIO_InitStruct.Pin = CS_WIFI_Pin|C_EN_Pin|CS_ADWB_Pin|STSAFE_RESET_Pin
                          |WIFI_BOOT0_Pin|CS_DHC_Pin|SEL3_4_Pin;
  GPIO_InitStruct.Mode = GPIO_MODE_OUTPUT_PP;
  GPIO_InitStruct.Pull = GPIO_NOPULL;
  GPIO_InitStruct.Speed = GPIO_SPEED_FREQ_LOW;
  HAL_GPIO_Init(GPIOF, &GPIO_InitStruct);

  /*Configure GPIO pins : I2C3_SDA_Pin I2C3_SCL_Pin */
  GPIO_InitStruct.Pin = I2C3_SDA_Pin|I2C3_SCL_Pin;
  GPIO_InitStruct.Mode = GPIO_MODE_AF_OD;
  GPIO_InitStruct.Pull = GPIO_PULLUP;
  GPIO_InitStruct.Speed = GPIO_SPEED_FREQ_VERY_HIGH;
  GPIO_InitStruct.Alternate = GPIO_AF4_I2C3;
  HAL_GPIO_Init(GPIOG, &GPIO_InitStruct);

  /*Configure GPIO pin : SW_SEL_Pin */
  GPIO_InitStruct.Pin = SW_SEL_Pin;
  GPIO_InitStruct.Mode = GPIO_MODE_AF_PP;
  GPIO_InitStruct.Pull = GPIO_NOPULL;
  GPIO_InitStruct.Speed = GPIO_SPEED_FREQ_HIGH;
  GPIO_InitStruct.Alternate = GPIO_AF2_TIM5;
  HAL_GPIO_Init(SW_SEL_GPIO_Port, &GPIO_InitStruct);

  /*Configure GPIO pins : INT2_DHC_Pin PGOOD_Pin INT_M_Pin */
  GPIO_InitStruct.Pin = INT2_DHC_Pin|PGOOD_Pin|INT_M_Pin;
  GPIO_InitStruct.Mode = GPIO_MODE_IT_RISING;
  GPIO_InitStruct.Pull = GPIO_NOPULL;
  HAL_GPIO_Init(GPIOF, &GPIO_InitStruct);

  /*Configure GPIO pins : SPI1_MISO_Pin SPI1_MOSI_Pin SPI1_CLK_Pin */
  GPIO_InitStruct.Pin = SPI1_MISO_Pin|SPI1_MOSI_Pin|SPI1_CLK_Pin;
  GPIO_InitStruct.Mode = GPIO_MODE_AF_PP;
  GPIO_InitStruct.Pull = GPIO_NOPULL;
  GPIO_InitStruct.Speed = GPIO_SPEED_FREQ_VERY_HIGH;
  GPIO_InitStruct.Alternate = GPIO_AF5_SPI1;
  HAL_GPIO_Init(GPIOG, &GPIO_InitStruct);

  /*Configure GPIO pins : INT_HTS_Pin BLE_INT_Pin */
  GPIO_InitStruct.Pin = INT_HTS_Pin|BLE_INT_Pin;
  GPIO_InitStruct.Mode = GPIO_MODE_IT_RISING;
  GPIO_InitStruct.Pull = GPIO_NOPULL;
  HAL_GPIO_Init(GPIOG, &GPIO_InitStruct);

  /*Configure GPIO pins : I2C4_SCL_Pin I2C4_SDA_Pin */
  GPIO_InitStruct.Pin = I2C4_SCL_Pin|I2C4_SDA_Pin;
  GPIO_InitStruct.Mode = GPIO_MODE_AF_OD;
  GPIO_InitStruct.Pull = GPIO_PULLUP;
  GPIO_InitStruct.Speed = GPIO_SPEED_FREQ_VERY_HIGH;
  GPIO_InitStruct.Alternate = GPIO_AF4_I2C4;
  HAL_GPIO_Init(GPIOD, &GPIO_InitStruct);

  /*Configure GPIO pins : SPI2_MISO_Pin SPI2_MOSI_Pin */
  GPIO_InitStruct.Pin = SPI2_MISO_Pin|SPI2_MOSI_Pin;
  GPIO_InitStruct.Mode = GPIO_MODE_AF_PP;
  GPIO_InitStruct.Pull = GPIO_NOPULL;
  GPIO_InitStruct.Speed = GPIO_SPEED_FREQ_VERY_HIGH;
  GPIO_InitStruct.Alternate = GPIO_AF5_SPI2;
  HAL_GPIO_Init(GPIOC, &GPIO_InitStruct);

  /*Configure GPIO pins : INT2_ADWB_Pin SD_DETECT_Pin */
  GPIO_InitStruct.Pin = INT2_ADWB_Pin|SD_DETECT_Pin;
  GPIO_InitStruct.Mode = GPIO_MODE_INPUT;
  GPIO_InitStruct.Pull = GPIO_NOPULL;
  HAL_GPIO_Init(GPIOB, &GPIO_InitStruct);

  /*Configure GPIO pin : CHRG_Pin */
  GPIO_InitStruct.Pin = CHRG_Pin;
  GPIO_InitStruct.Mode = GPIO_MODE_INPUT;
  GPIO_InitStruct.Pull = GPIO_NOPULL;
  HAL_GPIO_Init(CHRG_GPIO_Port, &GPIO_InitStruct);

  /*Configure GPIO pin : BUTTON_PWR_Pin */
  GPIO_InitStruct.Pin = BUTTON_PWR_Pin;
  GPIO_InitStruct.Mode = GPIO_MODE_IT_RISING;
  GPIO_InitStruct.Pull = GPIO_NOPULL;
  HAL_GPIO_Init(BUTTON_PWR_GPIO_Port, &GPIO_InitStruct);

  /*Configure GPIO pins : USART3_RX_Pin USART3_TX_Pin */
  GPIO_InitStruct.Pin = USART3_RX_Pin|USART3_TX_Pin;
  GPIO_InitStruct.Mode = GPIO_MODE_AF_PP;
  GPIO_InitStruct.Pull = GPIO_NOPULL;
  GPIO_InitStruct.Speed = GPIO_SPEED_FREQ_VERY_HIGH;
  GPIO_InitStruct.Alternate = GPIO_AF7_USART3;
  HAL_GPIO_Init(GPIOD, &GPIO_InitStruct);

  /*Configure GPIO pins : USART3_RTS_Pin USART3_CTS_Pin */
  GPIO_InitStruct.Pin = USART3_RTS_Pin|USART3_CTS_Pin;
  GPIO_InitStruct.Mode = GPIO_MODE_AF_PP;
  GPIO_InitStruct.Pull = GPIO_NOPULL;
  GPIO_InitStruct.Speed = GPIO_SPEED_FREQ_VERY_HIGH;
  GPIO_InitStruct.Alternate = GPIO_AF7_USART3;
  HAL_GPIO_Init(GPIOB, &GPIO_InitStruct);

  /*Configure GPIO pin : DFSDM1_CKOUT_Pin */
  GPIO_InitStruct.Pin = DFSDM1_CKOUT_Pin;
  GPIO_InitStruct.Mode = GPIO_MODE_AF_PP;
  GPIO_InitStruct.Pull = GPIO_PULLDOWN;
  GPIO_InitStruct.Speed = GPIO_SPEED_FREQ_VERY_HIGH;
  GPIO_InitStruct.Alternate = GPIO_AF6_DFSDM1;
  HAL_GPIO_Init(DFSDM1_CKOUT_GPIO_Port, &GPIO_InitStruct);

  /*Configure GPIO pins : SPI2_MOSI_p2_Pin PB11_Pin */
  GPIO_InitStruct.Pin = SPI2_MOSI_p2_Pin|PB11_Pin;
  GPIO_InitStruct.Mode = GPIO_MODE_OUTPUT_PP;
  GPIO_InitStruct.Pull = GPIO_NOPULL;
  GPIO_InitStruct.Speed = GPIO_SPEED_FREQ_LOW;
  HAL_GPIO_Init(GPIOB, &GPIO_InitStruct);

  /*Configure GPIO pin : INT2_DH_Pin */
  GPIO_InitStruct.Pin = INT2_DH_Pin;
  GPIO_InitStruct.Mode = GPIO_MODE_IT_RISING;
  GPIO_InitStruct.Pull = GPIO_NOPULL;
  HAL_GPIO_Init(INT2_DH_GPIO_Port, &GPIO_InitStruct);

  /*Configure GPIO pin : PE12_Pin */
  GPIO_InitStruct.Pin = PE12_Pin;
  GPIO_InitStruct.Mode = GPIO_MODE_ANALOG;
  GPIO_InitStruct.Pull = GPIO_NOPULL;
  HAL_GPIO_Init(PE12_GPIO_Port, &GPIO_InitStruct);

}

/* USER CODE BEGIN 4 */
void DMATransferComplete(DMA_HandleTypeDef *hdma) {

}
//Called when first half of buffer is filled
void HAL_ADC_ConvHalfCpltCallback(ADC_HandleTypeDef* hadc){

}

//Called when buffer is completely filled
void HAL_ADC_ConvCpltCallback(ADC_HandleTypeDef* hadc){
	// Toggle LD2
	//HAL_GPIO_TogglePin(GPIOE, LED1_Pin);
	completo = 1;
}
/* USER CODE END 4 */

void Error_Handler(void)
{
	__disable_irq();
	while (1)
	{
	}
}

/************************ (C) COPYRIGHT STMicroelectronics *****END OF FILE****/
